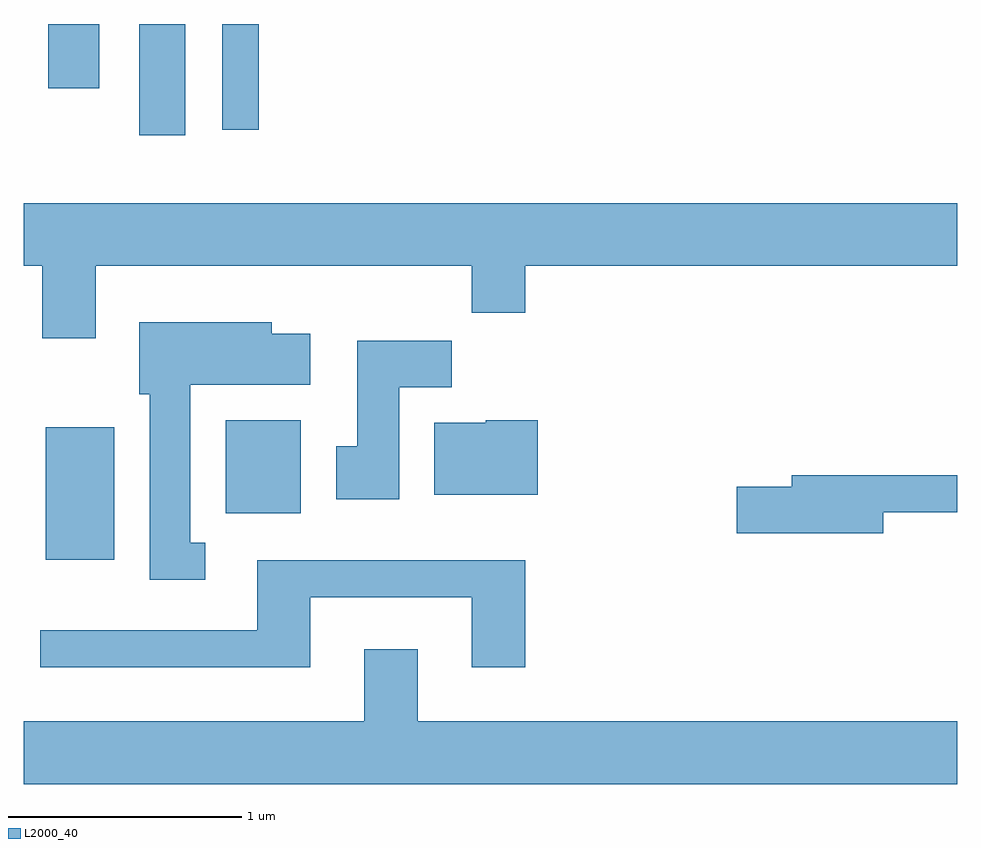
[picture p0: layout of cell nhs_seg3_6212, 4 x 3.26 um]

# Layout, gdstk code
import gdstk
lib = gdstk.Library(unit=1e-6, precision=1e-09)
def R(c, l, rs):  # rectangles x0, y0, x1, y1
    for r in rs: c.add(gdstk.rectangle(r[:2], r[2:], *l))
def P(c, l, *ps):  # polygons
    for p in ps: c.add(gdstk.Polygon(p, *l))
L2000_40 = (2000, 40)

nhs_seg3_6212 = lib.new_cell('nhs_seg3_6212')
R(nhs_seg3_6212, L2000_40, [(367.706,1173.596,367.999,1174.164), (368.476,1173.796,368.799,1174.194), (368.106,1175.416,368.304,1175.892), (368.461,1175.438,368.619,1175.892), (367.716,1175.616,367.934,1175.892)])
P(nhs_seg3_6212, L2000_40, [(367.919,1174.856),(369.531,1174.856),(369.531,1174.656),(369.759,1174.656),(369.759,1174.856),(371.611,1174.856),(371.611,1175.124),(367.611,1175.124),(367.611,1174.856),(367.691,1174.856),(367.691,1174.546),(367.919,1174.546)],
  [(368.388,1173.669),(368.324,1173.669),(368.324,1174.346),(368.839,1174.346),(368.839,1174.564),(368.674,1174.564),(368.674,1174.614),(368.106,1174.614),(368.106,1174.306),(368.151,1174.306),(368.151,1173.511),(368.388,1173.511)],
  [(369.219,1174.336),(369.444,1174.336),(369.444,1174.534),(369.041,1174.534),(369.041,1174.084),(368.951,1174.084),(368.951,1173.856),(369.219,1173.856)],
  [(369.814,1174.194),(369.59,1174.194),(369.59,1174.184),(369.371,1174.184),(369.371,1173.876),(369.814,1173.876)],
  [(371.294,1173.801),(371.611,1173.801),(371.611,1173.959),(370.901,1173.959),(370.901,1173.909),(370.666,1173.909),(370.666,1173.711),(371.294,1173.711)],
  [(368.839,1173.436),(369.531,1173.436),(369.531,1173.136),(369.759,1173.136),(369.759,1173.594),(368.611,1173.594),(368.611,1173.294),(367.683,1173.294),(367.683,1173.136),(368.839,1173.136)],
  [(371.611,1172.904),(369.299,1172.904),(369.299,1173.214),(369.071,1173.214),(369.071,1172.904),(367.611,1172.904),(367.611,1172.636),(371.611,1172.636)])

lib.write_gds('nhs_seg3_6212.gds')
